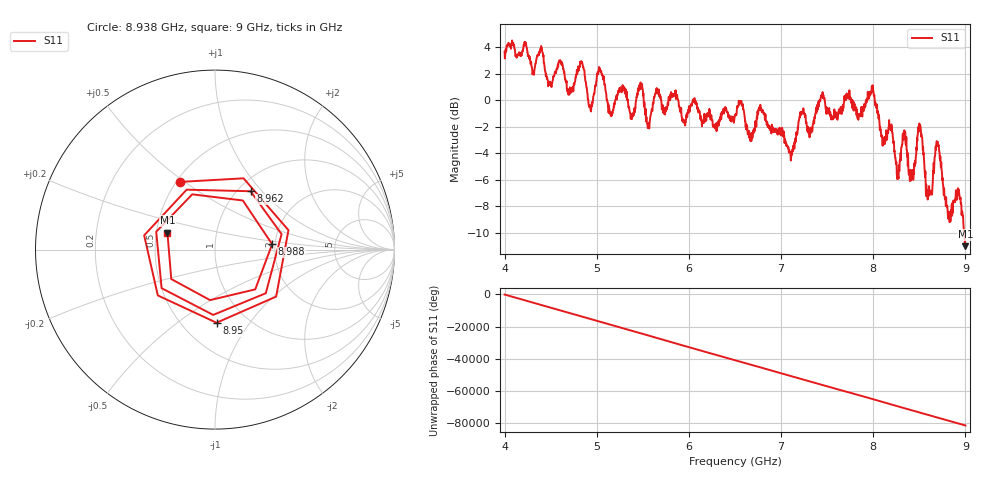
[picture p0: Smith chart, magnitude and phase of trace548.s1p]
! Created with skrf 1.8.0 (http://scikit-rf.org).
# Hz S RI R 50.0
!freq ReS11 ImS11
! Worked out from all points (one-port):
!   1601 points, 4 GHz to 9 GHz, reference 50 ohm
!   lowest |S11| = -11.0 dB at 9 GHz (marker M1), VSWR 1.78, Z = 28.6 + j5.9 ohm
!   |S11| at or under -10 dB: 8.98372 GHz to 8.985304 GHz (1.584 MHz wide, 0.0176 % of centre); 8.990369 GHz to end of sweep
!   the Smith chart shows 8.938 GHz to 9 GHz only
!   S11 on the Smith chart (normalised r, x): 8.938 GHz: 0.52, +0.48; 8.95 GHz: 0.73, -0.71; 8.962 GHz: 1.14, +0.87; 8.988 GHz: 1.93, +0.13; 9 GHz: 0.57, +0.12
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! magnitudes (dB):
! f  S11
! 4 GHz  3.7
! 4.625 GHz  2.8
! 4.703 GHz  0.8
! 4.841 GHz  2.9
! 4.931 GHz  -0.7
! 5.028 GHz  2.5
! 5.153 GHz  -1.2
! 5.25 GHz  0.8
! 5.378 GHz  -1.0
! 5.481 GHz  1.0
! 5.559 GHz  -1.8
! 5.875 GHz  0.1
! 6.5 GHz  -1.1
! 7.125 GHz  -3.9
! 7.225 GHz  -0.9
! 7.75 GHz  0.1
! 7.991 GHz  0.9
! 8.259 GHz  -5.4
! 8.375 GHz  -4.9
! 8.506 GHz  -1.9
! 8.594 GHz  -6.8
! 8.694 GHz  -3.3
! 8.812 GHz  -8.9
! 8.938 GHz  -7.4
! 8.95 GHz  -7.8
! 8.962 GHz  -8.4
! 8.988 GHz  -9.9
! 9 GHz  -11.0
